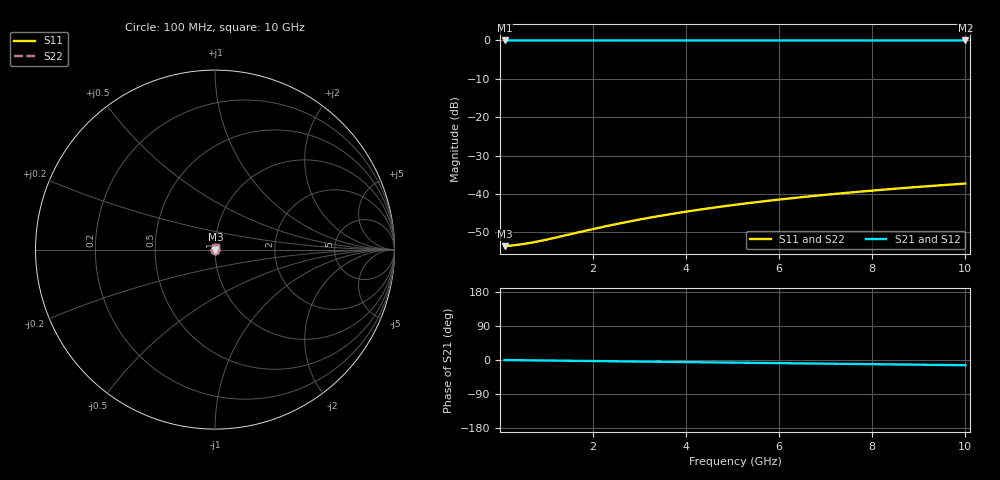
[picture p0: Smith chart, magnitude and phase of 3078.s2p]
# Hz S RI R 50.00
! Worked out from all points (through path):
!   100 points, 100 MHz to 10 GHz, reference 50 ohm
!   highest |S21| = -0.02 dB at 100 MHz (marker M1); lowest = 0.0 dB at 10 GHz (marker M2)
!   group delay of S21, straight-line fit = 3.82 ps
!   lowest |S11| = -53.6 dB at 100 MHz (marker M3), VSWR 1.00, Z = 50.2 + j0.0133 ohm
!   |S11| at or under -10 dB: start of sweep to end of sweep
!   |S22| runs from -53.6 to -37.3 dB; largest |S21 - S12| = 0
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1e8  0.00209 0.000132  0.9979 -0.00239  0.9979 -0.00239  0.00209 0.000132
3e8  0.00211 0.000396  0.9979 -0.00717  0.9979 -0.00717  0.00211 0.000396
4e8  0.00212 0.000528  0.9978 -0.00956  0.9978 -0.00956  0.00212 0.000528
5e8  0.00213 0.000659  0.9978 -0.012  0.9978 -0.012  0.00213 0.000659
7e8  0.00215 0.000923  0.9977 -0.0167  0.9977 -0.0167  0.00215 0.000923
9e8  0.00217 0.00119  0.9976 -0.0215  0.9976 -0.0215  0.00217 0.00119
1.1e9  0.00219 0.00145  0.9975 -0.0263  0.9975 -0.0263  0.00219 0.00145
1.8e9  0.00227 0.00237  0.9969 -0.043  0.9969 -0.043  0.00227 0.00237
2.2e9  0.00233 0.00289  0.9964 -0.0526  0.9964 -0.0526  0.00233 0.00289
2.6e9  0.0024 0.00341  0.9958 -0.0621  0.9958 -0.0621  0.0024 0.00341
3e9  0.00248 0.00393  0.9952 -0.0717  0.9952 -0.0717  0.00248 0.00393
3.4e9  0.00256 0.00445  0.9944 -0.0812  0.9944 -0.0812  0.00256 0.00445
3.8e9  0.00266 0.00497  0.9936 -0.0908  0.9936 -0.0908  0.00266 0.00497
4.2e9  0.00277 0.00548  0.9926 -0.1003  0.9926 -0.1003  0.00277 0.00548
4.6e9  0.00288 0.00599  0.9916 -0.1098  0.9916 -0.1098  0.00288 0.00599
5.1e9  0.00304 0.00663  0.9902 -0.1217  0.9902 -0.1217  0.00304 0.00663
5.9e9  0.00333 0.00763  0.9876 -0.1407  0.9876 -0.1407  0.00333 0.00763
6.7e9  0.00366 0.00863  0.9847 -0.1596  0.9847 -0.1596  0.00366 0.00863
7.5e9  0.00402 0.00961  0.9814 -0.1785  0.9814 -0.1785  0.00402 0.00961
8.4e9  0.00447 0.0107  0.9773 -0.1997  0.9773 -0.1997  0.00447 0.0107
9.2e9  0.00492 0.0116  0.9732 -0.2184  0.9732 -0.2184  0.00492 0.0116
1e10  0.0054 0.0126  0.9688 -0.2371  0.9688 -0.2371  0.0054 0.0126
